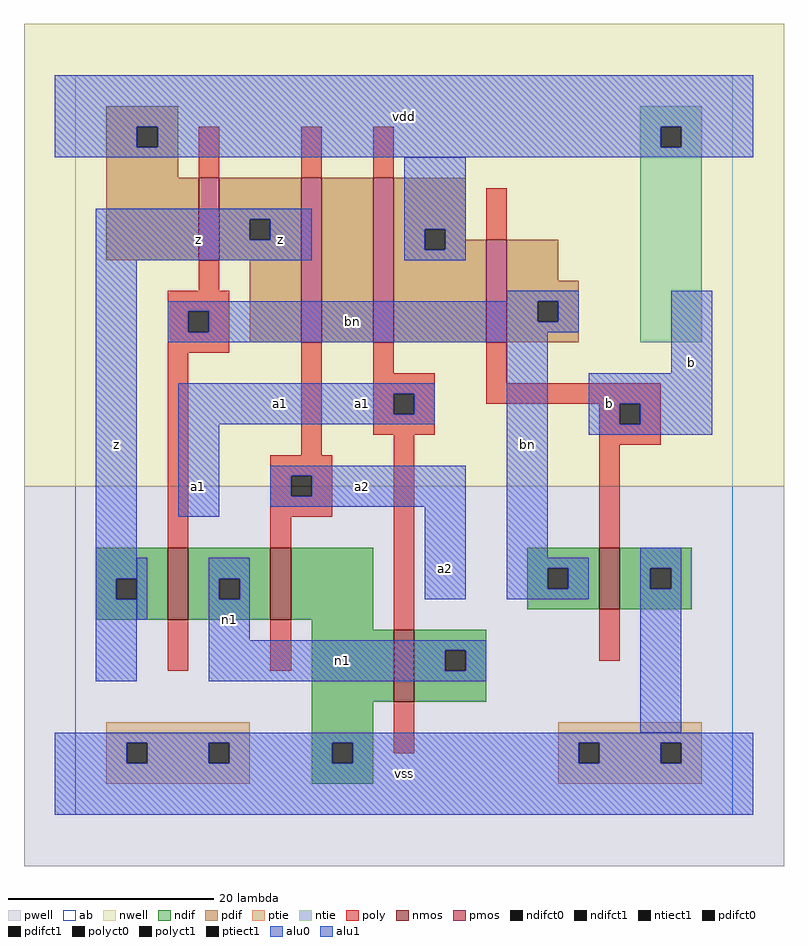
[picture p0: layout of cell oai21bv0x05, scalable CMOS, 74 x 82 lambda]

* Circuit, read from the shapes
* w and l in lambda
.subckt oai21bv0x05 a1 a2 b bn n1 vdd vss z
M1 n1 bn z vss nfet w=7 l=2
M2 vss a2 n1 vss nfet w=7 l=2
M3 n1 a1 vss vss nfet w=7 l=2
M4 vss b bn vss nfet w=6 l=2
M5 z bn vdd vdd pfet w=8 l=2
M6 n2 a2 z vdd pfet w=16 l=2
M7 vdd a1 n2 vdd pfet w=16 l=2
M8 bn b vdd vdd pfet w=10 l=2
.ends

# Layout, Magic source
magic
tech scmos
<< ab >>
rect 0 0 64 72
<< nwell >>
rect -5 32 69 77
<< pwell >>
rect -5 -5 69 32
<< poly >>
rect 12 62 14 67
rect 22 62 24 67
rect 29 62 31 67
rect 12 51 14 54
rect 9 49 15 51
rect 9 47 11 49
rect 13 47 15 49
rect 9 45 15 47
rect 40 56 42 61
rect 9 26 11 45
rect 22 35 24 46
rect 29 43 31 46
rect 29 41 35 43
rect 29 39 31 41
rect 33 39 35 41
rect 40 42 42 46
rect 40 40 57 42
rect 29 37 35 39
rect 51 38 53 40
rect 55 38 57 40
rect 19 33 25 35
rect 19 31 21 33
rect 23 31 25 33
rect 19 29 25 31
rect 19 26 21 29
rect 9 14 11 19
rect 19 14 21 19
rect 31 18 33 37
rect 51 36 57 38
rect 51 26 53 36
rect 51 15 53 20
rect 31 6 33 11
<< ndif >>
rect 2 23 9 26
rect 2 21 4 23
rect 6 21 9 23
rect 2 19 9 21
rect 11 23 19 26
rect 11 21 14 23
rect 16 21 19 23
rect 11 19 19 21
rect 21 19 29 26
rect 23 18 29 19
rect 44 24 51 26
rect 44 22 46 24
rect 48 22 51 24
rect 44 20 51 22
rect 53 24 60 26
rect 53 22 56 24
rect 58 22 60 24
rect 53 20 60 22
rect 23 11 31 18
rect 33 16 40 18
rect 33 14 36 16
rect 38 14 40 16
rect 33 11 40 14
rect 23 7 29 11
rect 23 5 25 7
rect 27 5 29 7
rect 23 3 29 5
<< pdif >>
rect 3 67 10 69
rect 3 65 6 67
rect 8 65 10 67
rect 3 62 10 65
rect 3 54 12 62
rect 14 58 22 62
rect 14 56 17 58
rect 19 56 22 58
rect 14 54 22 56
rect 17 46 22 54
rect 24 46 29 62
rect 31 57 38 62
rect 31 55 34 57
rect 36 56 38 57
rect 36 55 40 56
rect 31 46 40 55
rect 42 52 47 56
rect 42 50 49 52
rect 42 48 45 50
rect 47 48 49 50
rect 42 46 49 48
<< alu1 >>
rect -2 67 66 72
rect -2 65 6 67
rect 8 65 57 67
rect 59 65 66 67
rect -2 64 66 65
rect 2 58 23 59
rect 2 56 17 58
rect 19 56 23 58
rect 2 54 23 56
rect 2 23 6 54
rect 10 41 35 42
rect 10 39 31 41
rect 33 39 35 41
rect 10 38 35 39
rect 10 29 14 38
rect 19 33 38 34
rect 19 31 21 33
rect 23 31 38 33
rect 19 30 38 31
rect 2 21 4 23
rect 2 13 6 21
rect 34 21 38 30
rect 58 43 62 51
rect 50 40 62 43
rect 50 38 53 40
rect 55 38 62 40
rect 50 37 62 38
rect -2 7 66 8
rect -2 5 5 7
rect 7 5 13 7
rect 15 5 25 7
rect 27 5 49 7
rect 51 5 57 7
rect 59 5 66 7
rect -2 0 66 5
<< ptie >>
rect 3 7 17 9
rect 3 5 5 7
rect 7 5 13 7
rect 15 5 17 7
rect 3 3 17 5
rect 47 7 61 9
rect 47 5 49 7
rect 51 5 57 7
rect 59 5 61 7
rect 47 3 61 5
<< ntie >>
rect 55 67 61 69
rect 55 65 57 67
rect 59 65 61 67
rect 55 46 61 65
<< nmos >>
rect 9 19 11 26
rect 19 19 21 26
rect 51 20 53 26
rect 31 11 33 18
<< pmos >>
rect 12 54 14 62
rect 22 46 24 62
rect 29 46 31 62
rect 40 46 42 56
<< polyct0 >>
rect 11 47 13 49
<< polyct1 >>
rect 31 39 33 41
rect 53 38 55 40
rect 21 31 23 33
<< ndifct0 >>
rect 14 21 16 23
rect 46 22 48 24
rect 56 22 58 24
rect 36 14 38 16
<< ndifct1 >>
rect 4 21 6 23
rect 25 5 27 7
<< ntiect1 >>
rect 57 65 59 67
<< ptiect1 >>
rect 5 5 7 7
rect 13 5 15 7
rect 49 5 51 7
rect 57 5 59 7
<< pdifct0 >>
rect 34 55 36 57
rect 45 48 47 50
<< pdifct1 >>
rect 6 65 8 67
rect 17 56 19 58
<< alu0 >>
rect 32 57 38 64
rect 32 55 34 57
rect 36 55 38 57
rect 32 54 38 55
rect 42 50 49 51
rect 9 49 45 50
rect 9 47 11 49
rect 13 48 45 49
rect 47 48 49 50
rect 13 47 49 48
rect 9 46 46 47
rect 6 19 7 25
rect 13 23 17 25
rect 13 21 14 23
rect 16 21 17 23
rect 42 25 46 46
rect 42 24 50 25
rect 42 22 46 24
rect 48 22 50 24
rect 42 21 50 22
rect 55 24 59 26
rect 55 22 56 24
rect 58 22 59 24
rect 13 17 17 21
rect 13 16 40 17
rect 13 14 36 16
rect 38 14 40 16
rect 13 13 40 14
rect 55 8 59 22
<< labels >>
rlabel alu0 15 19 15 19 6 n1
rlabel alu0 26 15 26 15 6 n1
rlabel alu0 44 36 44 36 6 bn
rlabel alu0 27 48 27 48 6 bn
rlabel alu1 12 32 12 32 6 a1
rlabel alu1 4 36 4 36 6 z
rlabel alu1 12 56 12 56 6 z
rlabel alu1 28 32 28 32 6 a2
rlabel alu1 28 40 28 40 6 a1
rlabel alu1 20 40 20 40 6 a1
rlabel alu1 20 56 20 56 6 z
rlabel alu1 32 4 32 4 6 vss
rlabel alu1 36 24 36 24 6 a2
rlabel alu1 32 68 32 68 6 vdd
rlabel alu1 52 40 52 40 6 b
rlabel alu1 60 44 60 44 6 b
<< end >>
